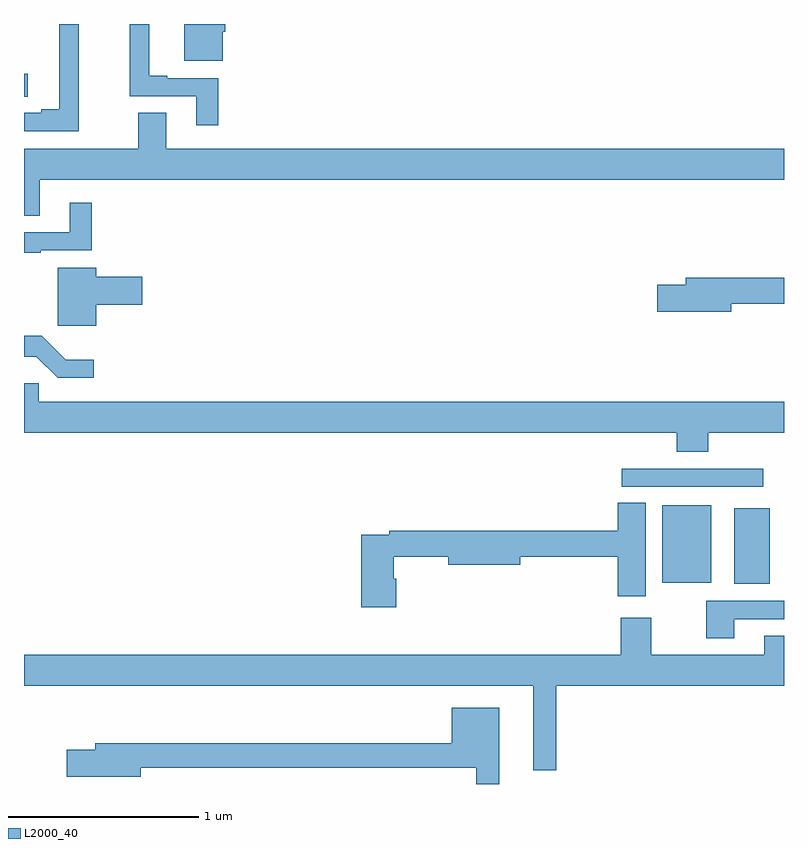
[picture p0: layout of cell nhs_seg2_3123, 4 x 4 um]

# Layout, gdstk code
import gdstk
lib = gdstk.Library(unit=1e-6, precision=1e-09)
def R(c, l, rs):  # rectangles x0, y0, x1, y1
    for r in rs: c.add(gdstk.rectangle(r[:2], r[2:], *l))
def P(c, l, *ps):  # polygons
    for p in ps: c.add(gdstk.Polygon(p, *l))
L2000_40 = (2000, 40)

nhs_seg2_3123 = lib.new_cell('nhs_seg2_3123')
R(nhs_seg2_3123, L2000_40, [(278.738,634.853,278.926,635.251), (278.36,634.859,278.617,635.266), (278.145,635.364,278.89,635.46), (275,637.417,275.02,637.537)])
P(nhs_seg2_3123, L2000_40, [(276.023,637.515),(275.755,637.515),(275.755,637.528),(275.66,637.528),(275.66,637.8),(275.557,637.8),(275.557,637.419),(275.906,637.419),(275.906,637.266),(276.023,637.266)],
  [(275.288,637.8),(275.185,637.8),(275.185,637.635),(275.186,637.635),(275.186,637.352),(275.09,637.352),(275.09,637.332),(275,637.332),(275,637.236),(275.288,637.236)],
  [(276.046,637.758),(276.059,637.758),(276.059,637.8),(275.843,637.8),(275.843,637.607),(276.046,637.607)],
  [(275.083,636.98),(279,636.98),(279,637.144),(275.749,637.144),(275.749,637.334),(275.602,637.334),(275.602,637.144),(275,637.144),(275,636.79),(275.083,636.79)],
  [(275.089,636.609),(275.357,636.609),(275.357,636.859),(275.24,636.859),(275.24,636.705),(275,636.705),(275,636.597),(275.089,636.597)],
  [(275.38,636.323),(275.623,636.323),(275.623,636.47),(275.38,636.47),(275.38,636.517),(275.177,636.517),(275.177,636.212),(275.38,636.212)],
  [(278.722,636.328),(279,636.328),(279,636.464),(278.483,636.464),(278.483,636.428),(278.334,636.428),(278.334,636.286),(278.722,636.286)],
  [(275.368,636.034),(275.219,636.034),(275.093,636.16),(275,636.16),(275,636.05),(275.065,636.05),(275.178,635.937),(275.368,635.937)],
  [(278.6,635.648),(279,635.648),(279,635.812),(275.077,635.812),(275.077,635.91),(275,635.91),(275,635.648),(278.435,635.648),(278.435,635.549),(278.6,635.549)],
  [(276.959,634.881),(276.946,634.881),(276.946,634.996),(277.232,634.996),(277.232,634.954),(277.612,634.954),(277.612,634.996),(278.126,634.996),(278.126,634.788),(278.272,634.788),(278.272,635.279),(278.126,635.279),(278.126,635.132),(276.922,635.132),(276.922,635.112),(276.776,635.112),(276.776,634.731),(276.959,634.731)],
  [(278.737,634.668),(279,634.668),(279,634.764),(278.59,634.764),(278.59,634.566),(278.737,634.566)],
  [(277.801,634.316),(279,634.316),(279,634.579),(278.897,634.579),(278.897,634.48),(278.301,634.48),(278.301,634.675),(278.141,634.675),(278.141,634.48),(275,634.48),(275,634.316),(277.679,634.316),(277.679,633.872),(277.801,633.872)],
  [(277.501,634.201),(277.25,634.201),(277.25,634.015),(275.375,634.015),(275.375,633.981),(275.226,633.981),(275.226,633.839),(275.614,633.839),(275.614,633.886),(277.38,633.886),(277.38,633.8),(277.501,633.8)])

lib.write_gds('nhs_seg2_3123.gds')
